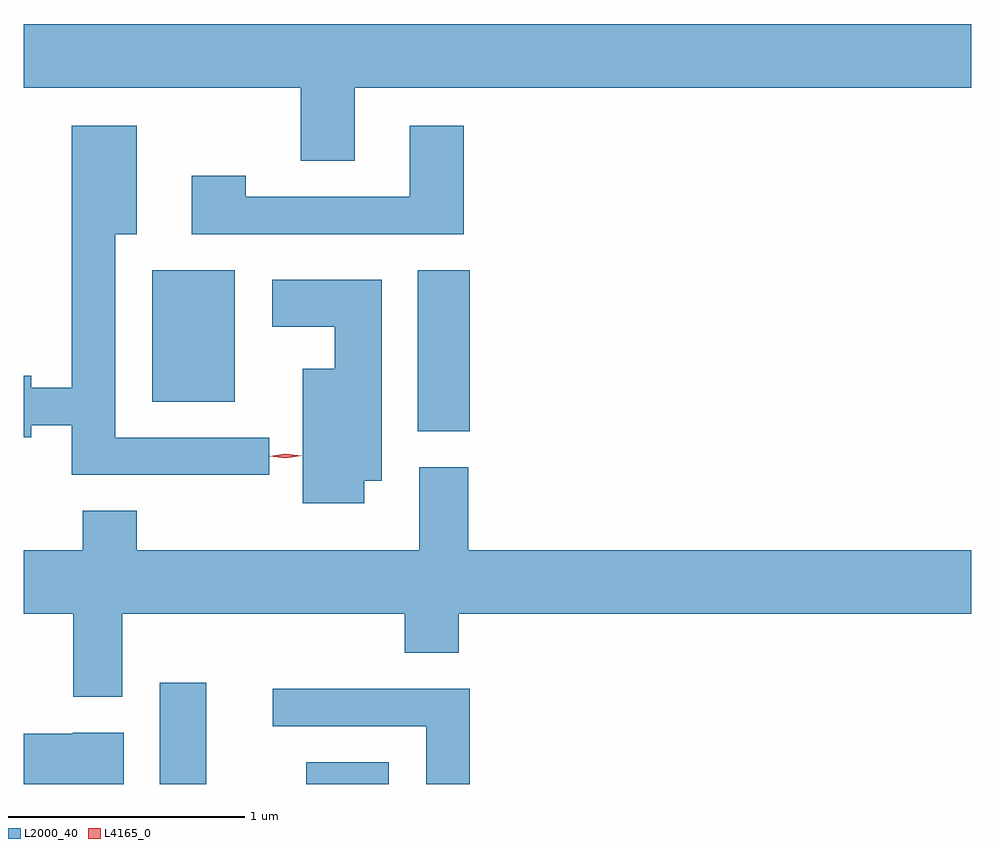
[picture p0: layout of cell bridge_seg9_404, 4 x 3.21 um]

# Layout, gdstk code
import gdstk
lib = gdstk.Library(unit=1e-6, precision=1e-09)
def R(c, l, rs):  # rectangles x0, y0, x1, y1
    for r in rs: c.add(gdstk.rectangle(r[:2], r[2:], *l))
def P(c, l, *ps):  # polygons
    for p in ps: c.add(gdstk.Polygon(p, *l))
L2000_40 = (2000, 40)
L4165_0 = (4165, 0)

bridge_seg9_404 = lib.new_cell('bridge_seg9_404')
R(bridge_seg9_404, L2000_40, [(567.536,2059.917,567.734,2060.344), (568.156,2059.917,568.504,2060.009), (568.626,2061.406,568.844,2062.084), (567.506,2061.531,567.854,2062.084)])
P(bridge_seg9_404, L2000_40, [(568.359,2062.856),(570.962,2062.856),(570.962,2063.124),(566.962,2063.124),(566.962,2062.856),(568.131,2062.856),(568.131,2062.546),(568.359,2062.546)],
  [(568.819,2062.694),(568.591,2062.694),(568.591,2062.394),(567.899,2062.394),(567.899,2062.484),(567.671,2062.484),(567.671,2062.236),(568.819,2062.236)],
  [(567.998,2061.379),(567.349,2061.379),(567.349,2062.236),(567.439,2062.236),(567.439,2062.694),(567.166,2062.694),(567.166,2061.589),(566.994,2061.589),(566.994,2061.639),(566.962,2061.639),(566.962,2061.381),(566.994,2061.381),(566.994,2061.431),(567.166,2061.431),(567.166,2061.221),(567.998,2061.221)],
  [(568.399,2061.196),(568.474,2061.196),(568.474,2062.044),(568.011,2062.044),(568.011,2061.846),(568.276,2061.846),(568.276,2061.669),(568.141,2061.669),(568.141,2061.101),(568.399,2061.101)],
  [(568.631,2061.254),(568.631,2060.904),(567.439,2060.904),(567.439,2061.069),(567.211,2061.069),(567.211,2060.904),(566.962,2060.904),(566.962,2060.636),(567.171,2060.636),(567.171,2060.286),(567.379,2060.286),(567.379,2060.636),(568.571,2060.636),(568.571,2060.471),(568.799,2060.471),(568.799,2060.636),(570.962,2060.636),(570.962,2060.904),(568.839,2060.904),(568.839,2061.254)],
  [(568.844,2060.319),(568.013,2060.319),(568.013,2060.161),(568.661,2060.161),(568.661,2059.917),(568.844,2059.917)],
  [(567.384,2060.134),(567.17,2060.134),(567.17,2060.129),(566.962,2060.129),(566.962,2059.917),(567.384,2059.917)])
P(bridge_seg9_404, L4165_0, [(568.068,2061.292),(568,2061.299),(568,2061.3),(568,2061.3),(568.067,2061.311),(568.135,2061.303),(568.136,2061.303),(568.135,2061.302)])

lib.write_gds('bridge_seg9_404.gds')
